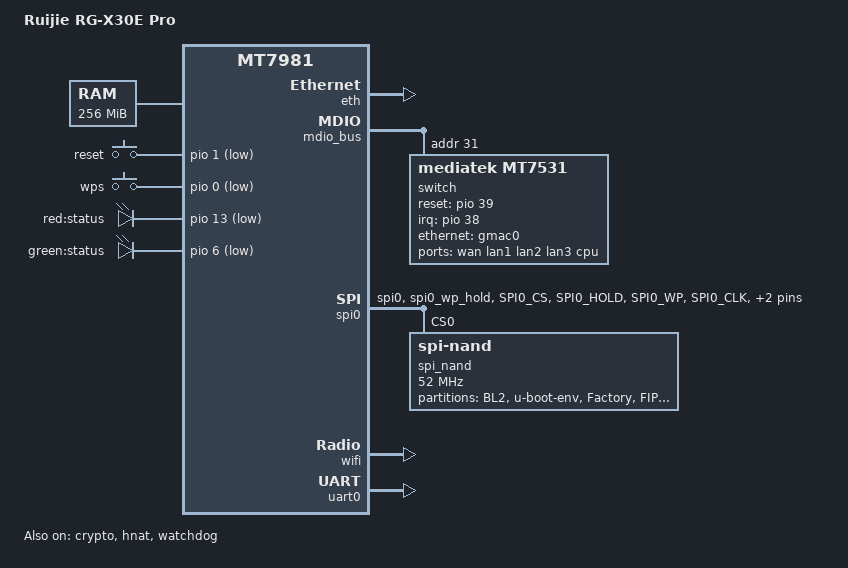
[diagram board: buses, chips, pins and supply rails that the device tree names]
// SPDX-License-Identifier: GPL-2.0-or-later OR MIT

/dts-v1/;
#include <dt-bindings/gpio/gpio.h>
#include <dt-bindings/input/input.h>

#include "mt7981b.dtsi"

/ {
	model = "Ruijie RG-X30E Pro";
	compatible = "ruijie,rg-x30e-pro", "mediatek,mt7981";

	aliases {
  		serial0 = &uart0;
		led-boot = &sysled_red;
		led-failsafe = &sysled_red;
		led-running = &sysled_green;
		led-upgrade = &sysled_red;
	};

	chosen {
		stdout-path = "serial0:115200n8";
	};

	memory@40000000 {
		reg = <0 0x40000000 0 0x10000000>;
		device_type = "memory";
	};

	gpio-keys {
		compatible = "gpio-keys";

		button-reset {
			label = "reset";
			linux,code = <KEY_RESTART>;
			gpios = <&pio 1 GPIO_ACTIVE_LOW>;
		};

		button-wps {
			label = "wps";
			linux,code = <KEY_WPS_BUTTON>;
			gpios = <&pio 0 GPIO_ACTIVE_LOW>;
		};
	};

	leds-gpio {
		compatible = "gpio-leds";

		sysled_red: sysled-red {
			label = "red:status";
			gpios = <&pio 13 GPIO_ACTIVE_LOW>;
		};

		sysled_green: sysled-green {
			label = "green:status";
			gpios = <&pio 6 GPIO_ACTIVE_LOW>;
		};
	};
};

&crypto {
	status = "okay";
};

&eth {
	status = "okay";

	gmac0: mac@0 {
		compatible = "mediatek,eth-mac";
		reg = <0>;
		phy-mode = "2500base-x";

		fixed-link {
			speed = <2500>;
			full-duplex;
			pause;
		};
	};
};

&mdio_bus {
	switch: switch@1f {
		compatible = "mediatek,mt7531";
		reg = <31>;
		reset-gpios = <&pio 39 GPIO_ACTIVE_HIGH>;
		interrupt-controller;
		#interrupt-cells = <1>;
		interrupt-parent = <&pio>;
		interrupts = <38 IRQ_TYPE_LEVEL_HIGH>;
	};
};

&switch {
	ports {
		#address-cells = <1>;
		#size-cells = <0>;

		port@0 {
			reg = <0>;
			label = "wan";
		};

		port@1 {
			reg = <1>;
			label = "lan1";
		};

		port@2 {
			reg = <2>;
			label = "lan2";
		};

		port@4 {
			reg = <4>;
			label = "lan3";
		};

		port@6 {
			reg = <6>;
			label = "cpu";
			ethernet = <&gmac0>;
			phy-mode = "2500base-x";

			fixed-link {
				speed = <2500>;
				full-duplex;
				pause;
			};
		};
	};
};

&hnat {
	mtketh-wan = "wan";
	mtketh-lan = "lan";
	mtketh-max-gmac = <1>;
	status = "okay";
};

&spi0 {
	pinctrl-names = "default";
	pinctrl-0 = <&spi0_flash_pins>;
	status = "okay";

	spi_nand: flash@0 {
		compatible = "spi-nand";
		reg = <0>;

		spi-max-frequency = <52000000>;
		spi-tx-bus-width = <4>;
		spi-rx-bus-width = <4>;

		spi-cal-enable;
		spi-cal-mode = "read-data";
		spi-cal-datalen = <7>;
		spi-cal-data = /bits/ 8 <0x53 0x50 0x49 0x4E 0x41 0x4E 0x44>;
		spi-cal-addrlen = <5>;
		spi-cal-addr = /bits/ 32 <0x0 0x0 0x0 0x0 0x0>;
		
		mediatek,nmbm;
		mediatek,bmt-max-ratio = <1>;
		mediatek,bmt-max-reserved-blocks = <64>;

		partitions: partitions {
			compatible = "fixed-partitions";
			#address-cells = <1>;
			#size-cells = <1>;

			partition@0 {
				label = "BL2";
				reg = <0x00 0x100000>;
			};

			partition@100000 {
				label = "u-boot-env";
				reg = <0x100000 0x80000>;
			};

			partition@180000 {
				label = "Factory";
				reg = <0x180000 0x200000>;

				nvmem-layout {
					compatible = "fixed-layout";
					#address-cells = <1>;
					#size-cells = <1>;

					eeprom_factory_0: eeprom@0 {
						reg = <0x0 0x1000>;
					};
				};
			};

			partition@380000 {
				label = "FIP";
				reg = <0x380000 0x200000>;
			};

			partition@580000 {
				label = "FIP2";
				reg = <0x580000 0x200000>;
			};

			partition@780000 {
				label = "product_info";
				reg = <0x780000 0x80000>;
			};

			partition@800000 {
				label = "kdump";
				reg = <0x800000 0x80000>;
			};

			partition@880000 {
				label = "ubi";
				reg = <0x880000 0x6F80000>;
			};
		};
	};
};

&pio {
	spi0_flash_pins: spi0-pins {
		mux {
			function = "spi";
			groups = "spi0", "spi0_wp_hold";
		};

		conf-pu {
			pins = "SPI0_CS", "SPI0_HOLD", "SPI0_WP";
			drive-strength = <8>;
			bias-pull-up = <0>;
		};

		conf-pd {
			pins = "SPI0_CLK", "SPI0_MOSI", "SPI0_MISO";
			drive-strength = <8>;
			bias-pull-down = <0>;
		};
	};
};

&wifi {
	status = "okay";
	nvmem-cells = <&eeprom_factory_0>;
	nvmem-cell-names = "eeprom";
};

&uart0 {
	status = "okay";
};

&watchdog {
	status = "okay";
};

